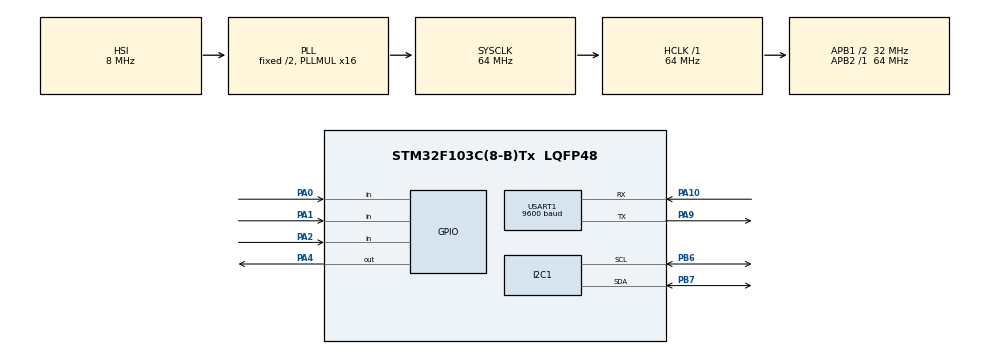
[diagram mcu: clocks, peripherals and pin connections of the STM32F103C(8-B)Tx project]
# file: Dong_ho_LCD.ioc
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Mcu.Family=STM32F1
Mcu.Name=STM32F103C(8-B)Tx
Mcu.Package=LQFP48
NVIC.PriorityGroup=NVIC_PRIORITYGROUP_4
NVIC.USART1_IRQn=true\:0\:0\:false\:false\:true\:true\:true\:true
PA0-WKUP.GPIO_PuPd=GPIO_PULLUP
PA0-WKUP.Signal=GPIO_Input
PA1.GPIO_PuPd=GPIO_PULLUP
PA1.Signal=GPIO_Input
PA10.Mode=Asynchronous
PA10.Signal=USART1_RX
PA13.Mode=Serial_Wire
PA13.Signal=SYS_JTMS-SWDIO
PA14.Mode=Serial_Wire
PA14.Signal=SYS_JTCK-SWCLK
PA2.GPIO_PuPd=GPIO_PULLUP
PA2.Signal=GPIO_Input
PA4.Signal=GPIO_Output
PA9.Mode=Asynchronous
PA9.Signal=USART1_TX
PB6.Mode=I2C
PB6.Signal=I2C1_SCL
PB7.Mode=I2C
PB7.Signal=I2C1_SDA
ProjectManager.HeapSize=0x200
ProjectManager.StackSize=0x400
ProjectManager.TargetToolchain=MDK-ARM V5.32
RCC.AHBFreq_Value=64000000
RCC.APB1CLKDivider=RCC_HCLK_DIV2
RCC.APB1Freq_Value=32000000
RCC.APB1TimFreq_Value=64000000
RCC.APB2Freq_Value=64000000
RCC.APB2TimFreq_Value=64000000
RCC.HCLKFreq_Value=64000000
RCC.PLLMUL=RCC_PLL_MUL16
RCC.SYSCLKFreq_VALUE=64000000
RCC.SYSCLKSource=RCC_SYSCLKSOURCE_PLLCLK
RCC.USBFreq_Value=64000000
USART1.BaudRate=9600
USART1.VirtualMode=VM_ASYNC
board=custom

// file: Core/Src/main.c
/* USER CODE BEGIN Header */
/**
  ******************************************************************************
  * @file           : main.c
  * @brief          : Main program body
  ******************************************************************************
  * @attention
  *
  * Copyright (c) 2025 STMicroelectronics.
  * All rights reserved.
  *
  * This software is licensed under terms that can be found in the LICENSE file
  * in the root directory of this software component.
  * If no LICENSE file comes with this software, it is provided AS-IS.
  *
  ******************************************************************************
  */
/* USER CODE END Header */
#include "main.h"

/* USER CODE BEGIN Includes */
#include "LiquidCrystal_I2C.h"
#include "DS3231.h"
#include "Button.h"
#include "stdlib.h"
#include "stdio.h"
#include "string.h"
/* USER CODE END Includes */

I2C_HandleTypeDef hi2c1;

UART_HandleTypeDef huart1;

void SystemClock_Config(void);
static void MX_GPIO_Init(void);
static void MX_I2C1_Init(void);
static void MX_USART1_UART_Init(void);

/* USER CODE BEGIN 0 */
LiquidCrystal_I2C lcd;
Date_time_t date_time;
Button_Typdef btn_OK;
Button_Typdef btn_UP;
Button_Typdef btn_DOWN;
int8_t hour_alarm, min_alarm;
uint32_t setting_state_tick = 0;
uint32_t last_auto_switch = 0;
uint8_t alarm_active = 0;
uint32_t alarm_start_tick = 0;
char bt_rx_buffer[32];
uint8_t bt_rx_index = 0;
uint8_t bt_rx_data;
volatile const char arr_day[][3] ={
{"T2"},
{"T3"},
{"T4"},
{"T5"},
{"T6"},
{"T7"},
{"CN"}};

void time_update(void)
{
		static uint32_t t_update = 0;
		if(HAL_GetTick() - t_update >= 500)
		{
			rtc_read_time(&date_time);
			uint8_t day_of_week = rtc_read_day_of_week(&date_time);
			lcd_set_cursor(&lcd,0,2);
			lcd_printf(&lcd,"%02d:%02d:%02d", date_time.hour, date_time.minute, date_time.second);
			lcd_set_cursor(&lcd,1,0);
			lcd_printf(&lcd,"%s %02d/%02d/20%02d",arr_day[day_of_week], date_time.date, date_time.month, date_time.year);
			t_update = HAL_GetTick();
		}
}

typedef enum
{
	NORMAL_STATE,
	SETTING_HOUR_STATE,
	SETTING_MIN_STATE,
	SETTING_SEC_STATE,
	SETTING_DATE_STATE,
	SETTING_MON_STATE,
	SETTING_YEAR_STATE,
	ALARM_HOUR_STATE,
	ALARM_MIN_STATE
}Clock_state_t;
Clock_state_t clock_state = NORMAL_STATE;
typedef enum
{
	SETTING_STATE,
	ALARM_STATE
}ClockMode_t;
ClockMode_t setting_mode = SETTING_STATE;
//-----------setting_app-------------------//
void parse_bluetooth_cmd(char *cmd)
{
    if(strncmp(cmd, "SETTIME", 7) == 0)
    {
        int h, m, s, d, mo, y;
        if(sscanf(cmd, "SETTIME,%d,%d,%d,%d,%d,%d", &h, &m, &s, &d, &mo, &y) == 6)
        {
            date_time.hour = h;
            date_time.minute = m;
            date_time.second = s;
            date_time.date = d;
            date_time.month = mo;
            date_time.year = y;
            rtc_write_time(&date_time);
        }
    }
    else if(strncmp(cmd, "SETALARM", 8) == 0)
    {
        int h, m;
        if(sscanf(cmd, "SETALARM,%d,%d", &h, &m) == 2)
        {
            hour_alarm = h;
            min_alarm = m;
            ds3231_write_ram(0x08, hour_alarm);
            ds3231_write_ram(0x09, min_alarm);
        }
    }
}
void HAL_UART_RxCpltCallback(UART_HandleTypeDef *huart)
{
	if(huart->Instance == USART1)
	{
		if(bt_rx_data != '\n' && bt_rx_index < sizeof(bt_rx_buffer) - 1)
		{
			bt_rx_buffer[bt_rx_index++] = bt_rx_data;
		}
		else
		{
			bt_rx_buffer[bt_rx_index] = 0;
			bt_rx_index = 0;
			parse_bluetooth_cmd(bt_rx_buffer);
		}
		HAL_UART_Receive_IT(&huart1, &bt_rx_data, 1);
	}
}

//-------------handle clock---------------//
uint8_t check_leap_year(uint16_t year)
{
	if(((year % 4 == 0) && (year % 100 != 0)) || (year % 400 == 0))
	{
		return 1;
	}
	return 0;
}
uint8_t get_max_date(uint8_t mon, uint16_t year)
{
	switch(mon)
	{
		case 1: case 3: case 5: case 7: case 8: case 10: case 12:
			return 31;
		case 4: case 6: case 9: case 11:
			return 30;
		case 2:
			if(check_leap_year(year) == 1)
			{
				return 29;
			}
			else
				return 28;
		default:
			return 0;
	}
}
void up_down_update(int8_t* number, int8_t max, int8_t min, uint8_t plus)
{
	if(plus)
	{
		(*number)++;
		if(*number > max)
		{
			*number = min;
		}
	}
	else
	{
		(*number)--;
		if(*number < min)
		{
			*number = max;
		}
	}
}
//---------------------------check alarm------------------------------//
void check_alarm(void)
{
	if(date_time.hour == hour_alarm && date_time.minute == min_alarm && !alarm_active)
	{
		HAL_GPIO_WritePin(GPIOA, GPIO_PIN_4, GPIO_PIN_SET);
		alarm_active = 1;
		alarm_start_tick = HAL_GetTick();
	}
	if(alarm_active)
	{
		if(HAL_GetTick() - alarm_start_tick >= 600000)
		{
			HAL_GPIO_WritePin(GPIOA, GPIO_PIN_4, GPIO_PIN_RESET);
			alarm_active = 0;
		}
	}
}
//---------------------------adjust------------------------------//
void adjust_time(uint8_t plus)
{
		switch(clock_state)
		{
			case SETTING_HOUR_STATE:
			{
				up_down_update(&date_time.hour, 23, 0, plus);
				rtc_write_time(&date_time);
				break;
			}
			case SETTING_MIN_STATE:
			{
				up_down_update(&date_time.minute, 59, 0, plus);
				rtc_write_time(&date_time);
				break;
			}
			case SETTING_SEC_STATE:
			{
				up_down_update(&date_time.second, 59, 0, plus);
				rtc_write_time(&date_time);
				break;
			}
			case SETTING_DATE_STATE:
			{
				uint8_t max_date = get_max_date(date_time.month, date_time.year);
				up_down_update(&date_time.date, max_date, 1, plus);
				rtc_write_time(&date_time);
				break;
			}
			case SETTING_MON_STATE:
			{
				up_down_update(&date_time.month, 12, 1, plus);
				uint8_t max_date = get_max_date(date_time.month, date_time.year);

				if(date_time.date > max_date)
				{
					date_time.date = max_date;
				}
				rtc_write_time(&date_time);
				break;
			}
			case SETTING_YEAR_STATE:
			{
				up_down_update(&date_time.year, 99, 0, plus);
				rtc_write_time(&date_time);
				break;
			}
			case ALARM_HOUR_STATE:
			{
				up_down_update(&hour_alarm, 23, 0, plus);
				break;
			}
			case ALARM_MIN_STATE:
			{
				up_down_update(&min_alarm, 59, 0, plus);
				break;
			}
			default:
				break;
		}
}
void	btn_pressing_callback(Button_Typdef *ButtonX) //nhan la chay
{
	if(clock_state != NORMAL_STATE)
		setting_state_tick = HAL_GetTick(); // Reset tick
	if(ButtonX == &btn_UP)
	{
		adjust_time(1);
	}
	else if(ButtonX == &btn_DOWN)
	{
		adjust_time(0);
	}
}
void btn_press_short_callback(Button_Typdef *ButtonX)
{
	static uint8_t state_setting = 0;
	static uint8_t state_alarm = 0;
	if(ButtonX == &btn_OK)
	{
		if(clock_state == NORMAL_STATE)
		{
			state_setting = 0;
			state_alarm = 0;
			setting_state_tick = HAL_GetTick();
		}
		if(setting_mode == SETTING_STATE)
		{
			switch(state_setting)
			{
				case 0: clock_state = SETTING_HOUR_STATE; break;
				case 1: clock_state = SETTING_MIN_STATE;  break;
				case 2: clock_state = SETTING_SEC_STATE;  break;
				case 3: clock_state = SETTING_DATE_STATE; break;
				case 4: clock_state = SETTING_MON_STATE;  break;
				case 5: clock_state = SETTING_YEAR_STATE; break;
				case 6: clock_state = NORMAL_STATE;       break;
			}
			if(state_setting < 6) state_setting++;
		}
		else if(setting_mode == ALARM_STATE)
		{
			if(state_alarm < 2) ++state_alarm;
			switch(state_alarm)
			{
				case 0: clock_state = ALARM_HOUR_STATE; break;
				case 1: clock_state = ALARM_MIN_STATE;  break;
				case 2:
					clock_state = NORMAL_STATE;
				  setting_mode = SETTING_STATE;
					break;
			}
		}
		if(clock_state != NORMAL_STATE)
			setting_state_tick = HAL_GetTick();
	}
}

void btn_press_timeout_callback(Button_Typdef *ButtonX)
{
	if(ButtonX == &btn_OK)
	{
		if(clock_state != NORMAL_STATE)
    {
			setting_state_tick = HAL_GetTick();
		}
		if(setting_mode == SETTING_STATE)
		{
			setting_mode = ALARM_STATE;
			clock_state = ALARM_HOUR_STATE;
			lcd_clear_display(&lcd);
			lcd_set_cursor(&lcd, 0, 5);
			lcd_printf(&lcd, "ALARM");
		}
		else
		{
			setting_mode = SETTING_STATE;
			clock_state = NORMAL_STATE;
			ds3231_write_ram(0x08, hour_alarm);
			ds3231_write_ram(0x09, min_alarm);
		}
		if(clock_state != NORMAL_STATE)
			setting_state_tick = HAL_GetTick();
	}
}

void auto_next_setting_state(void)
{
	if(setting_mode == SETTING_STATE && clock_state != NORMAL_STATE)
	{
		uint8_t ok_state = HAL_GPIO_ReadPin(btn_OK.GPIOx, btn_OK.GPIO_Pin);
		if(ok_state == 0)
		{
			if(HAL_GetTick() - last_auto_switch > 200)
			{
				switch(clock_state)
				{
					case SETTING_HOUR_STATE: clock_state = SETTING_MIN_STATE; break;
					case SETTING_MIN_STATE:  clock_state = SETTING_SEC_STATE; break;
					case SETTING_SEC_STATE:  clock_state = SETTING_DATE_STATE; break;
					case SETTING_DATE_STATE: clock_state = SETTING_MON_STATE; break;
					case SETTING_MON_STATE:  clock_state = SETTING_YEAR_STATE; break;
					case SETTING_YEAR_STATE: clock_state = NORMAL_STATE; break;
					default: break;
				}
				setting_state_tick = HAL_GetTick();
				last_auto_switch = HAL_GetTick();
			}
		}
		else
		{
			last_auto_switch = HAL_GetTick();
		}
	}
}

//-----------------blink----------------//

void setting_blink(void)
{
		static uint32_t t_blink = 0;
		static uint8_t is_show = 1;
		char line1[16];
		char line2[16];
		if(HAL_GetTick() - t_blink >= 300)
		{
			is_show = !is_show;
			rtc_read_time(&date_time);
			uint8_t day_of_week = rtc_read_day_of_week(&date_time);
			sprintf(line1,"%02d:%02d:%02d", date_time.hour, date_time.minute, date_time.second);
			sprintf(line2,"%s %02d/%02d/20%02d",arr_day[day_of_week], date_time.date, date_time.month, date_time.year);
			if(is_show)
			{
				lcd_set_cursor(&lcd,0,2);
				lcd_printf(&lcd,"%s", line1);
				lcd_set_cursor(&lcd,1,0);
				lcd_printf(&lcd,"%s",line2);
			}
			else
			{
				switch(clock_state)
				{
					case SETTING_HOUR_STATE:
						line1[0] = line1[1] = ' ';
						break;
					case SETTING_MIN_STATE:
						line1[3] = line1[4] = ' ';
						break;
					case SETTING_SEC_STATE:
						line1[6] = line1[7] = ' ';
						break;
					case SETTING_DATE_STATE:
						line2[3] = line2[4] = ' ';
						break;
					case SETTING_MON_STATE:
						line2[6] = line2[7] = ' ';
						break;
					case SETTING_YEAR_STATE:
						line2[9] = line2[10] = line2[11] = line2[12] = ' ';
						break;
					default:
						break;
				}
				lcd_set_cursor(&lcd,0,2);
				lcd_printf(&lcd,"%s", line1);
				lcd_set_cursor(&lcd,1,0);
				lcd_printf(&lcd,"%s",line2);
			}
			t_blink = HAL_GetTick();
		}
}

void alarm_screen(void)
{
	static uint32_t t_blink = 0;
	static uint8_t is_show = 1;
	char line2[16];
	if(HAL_GetTick() - t_blink >= 300)
	{
		is_show = !is_show;
		sprintf(line2,"%02d:%02d", hour_alarm, min_alarm);
		if(is_show)
		{
			switch(clock_state)
			{
				case ALARM_HOUR_STATE:
					line2[0] = line2[1] = ' ';
					break;
				case ALARM_MIN_STATE:
					line2[3] = line2[4] = ' ';
					break;
				default:
					break;
			}
			lcd_set_cursor(&lcd,1,5);
			lcd_printf(&lcd,"%s",line2);

		}
		else
		{
			lcd_set_cursor(&lcd,1,5);
			lcd_printf(&lcd,"%s",line2);
		}
		t_blink = HAL_GetTick();
	}
}

void clock_handle(void)
{
	switch(clock_state)
	{
		case NORMAL_STATE:
			time_update();
			check_alarm();
			break;
		case SETTING_SEC_STATE:
		case SETTING_MIN_STATE:
		case SETTING_HOUR_STATE:
		case SETTING_DATE_STATE:
		case SETTING_MON_STATE:
		case SETTING_YEAR_STATE:
			setting_blink();
			break;
		case ALARM_HOUR_STATE:
		case ALARM_MIN_STATE:
			alarm_screen();
			break;
	}
	if(clock_state != NORMAL_STATE)
	{
    if(HAL_GetTick() - setting_state_tick > 5000)
    {
			clock_state = NORMAL_STATE;
			setting_mode = SETTING_STATE;
		}
	}
}

/* USER CODE END 0 */

int main(void)
{

  /* MCU Configuration--------------------------------------------------------*/

  /* Reset of all peripherals, Initializes the Flash interface and the Systick. */
  HAL_Init();

  /* Configure the system clock */
  SystemClock_Config();

  /* Initialize all configured peripherals */
  MX_GPIO_Init();
  MX_I2C1_Init();
  MX_USART1_UART_Init();
  /* USER CODE BEGIN 2 */
	DS3231_Init(&hi2c1);
	lcd_init(&lcd,&hi2c1,LCD_ADDR_DEFAULT);
	button_init(&btn_OK, GPIOA, GPIO_PIN_0);
	button_init(&btn_UP, GPIOA, GPIO_PIN_1);
	button_init(&btn_DOWN, GPIOA, GPIO_PIN_2);
	hour_alarm = ds3231_read_ram(0x08);
	min_alarm = ds3231_read_ram(0x09);
	HAL_UART_Receive_IT(&huart1, &bt_rx_data, 1);
  /* USER CODE END 2 */

  /* Infinite loop */
  /* USER CODE BEGIN WHILE */
  while (1)
  {
		button_handle(&btn_DOWN);
		button_handle(&btn_OK);
		button_handle(&btn_UP);
		clock_handle();
		auto_next_setting_state();
    /* USER CODE END WHILE */

  }
}

void SystemClock_Config(void)
{
  RCC_OscInitTypeDef RCC_OscInitStruct = {0};
  RCC_ClkInitTypeDef RCC_ClkInitStruct = {0};

  /** Initializes the RCC Oscillators according to the specified parameters
  * in the RCC_OscInitTypeDef structure.
  */
  RCC_OscInitStruct.OscillatorType = RCC_OSCILLATORTYPE_HSI;
  RCC_OscInitStruct.HSIState = RCC_HSI_ON;
  RCC_OscInitStruct.HSICalibrationValue = RCC_HSICALIBRATION_DEFAULT;
  RCC_OscInitStruct.PLL.PLLState = RCC_PLL_ON;
  RCC_OscInitStruct.PLL.PLLSource = RCC_PLLSOURCE_HSI_DIV2;
  RCC_OscInitStruct.PLL.PLLMUL = RCC_PLL_MUL16;
  if (HAL_RCC_OscConfig(&RCC_OscInitStruct) != HAL_OK)
  {
    Error_Handler();
  }

  /** Initializes the CPU, AHB and APB buses clocks
  */
  RCC_ClkInitStruct.ClockType = RCC_CLOCKTYPE_HCLK|RCC_CLOCKTYPE_SYSCLK
                              |RCC_CLOCKTYPE_PCLK1|RCC_CLOCKTYPE_PCLK2;
  RCC_ClkInitStruct.SYSCLKSource = RCC_SYSCLKSOURCE_PLLCLK;
  RCC_ClkInitStruct.AHBCLKDivider = RCC_SYSCLK_DIV1;
  RCC_ClkInitStruct.APB1CLKDivider = RCC_HCLK_DIV2;
  RCC_ClkInitStruct.APB2CLKDivider = RCC_HCLK_DIV1;

  if (HAL_RCC_ClockConfig(&RCC_ClkInitStruct, FLASH_LATENCY_2) != HAL_OK)
  {
    Error_Handler();
  }
}

static void MX_I2C1_Init(void)
{

  hi2c1.Instance = I2C1;
  hi2c1.Init.ClockSpeed = 100000;
  hi2c1.Init.DutyCycle = I2C_DUTYCYCLE_2;
  hi2c1.Init.OwnAddress1 = 0;
  hi2c1.Init.AddressingMode = I2C_ADDRESSINGMODE_7BIT;
  hi2c1.Init.DualAddressMode = I2C_DUALADDRESS_DISABLE;
  hi2c1.Init.OwnAddress2 = 0;
  hi2c1.Init.GeneralCallMode = I2C_GENERALCALL_DISABLE;
  hi2c1.Init.NoStretchMode = I2C_NOSTRETCH_DISABLE;
  if (HAL_I2C_Init(&hi2c1) != HAL_OK)
  {
    Error_Handler();
  }

}

static void MX_USART1_UART_Init(void)
{

  huart1.Instance = USART1;
  huart1.Init.BaudRate = 9600;
  huart1.Init.WordLength = UART_WORDLENGTH_8B;
  huart1.Init.StopBits = UART_STOPBITS_1;
  huart1.Init.Parity = UART_PARITY_NONE;
  huart1.Init.Mode = UART_MODE_TX_RX;
  huart1.Init.HwFlowCtl = UART_HWCONTROL_NONE;
  huart1.Init.OverSampling = UART_OVERSAMPLING_16;
  if (HAL_UART_Init(&huart1) != HAL_OK)
  {
    Error_Handler();
  }

}

static void MX_GPIO_Init(void)
{
  GPIO_InitTypeDef GPIO_InitStruct = {0};

  /* GPIO Ports Clock Enable */
  __HAL_RCC_GPIOA_CLK_ENABLE();
  __HAL_RCC_GPIOB_CLK_ENABLE();

  /*Configure GPIO pin Output Level */
  HAL_GPIO_WritePin(GPIOA, GPIO_PIN_4, GPIO_PIN_RESET);

  /*Configure GPIO pins : PA0 PA1 PA2 */
  GPIO_InitStruct.Pin = GPIO_PIN_0|GPIO_PIN_1|GPIO_PIN_2;
  GPIO_InitStruct.Mode = GPIO_MODE_INPUT;
  GPIO_InitStruct.Pull = GPIO_PULLUP;
  HAL_GPIO_Init(GPIOA, &GPIO_InitStruct);

  /*Configure GPIO pin : PA4 */
  GPIO_InitStruct.Pin = GPIO_PIN_4;
  GPIO_InitStruct.Mode = GPIO_MODE_OUTPUT_PP;
  GPIO_InitStruct.Pull = GPIO_NOPULL;
  GPIO_InitStruct.Speed = GPIO_SPEED_FREQ_LOW;
  HAL_GPIO_Init(GPIOA, &GPIO_InitStruct);

}

void Error_Handler(void)
{
  __disable_irq();
  while (1)
  {
  }
}
